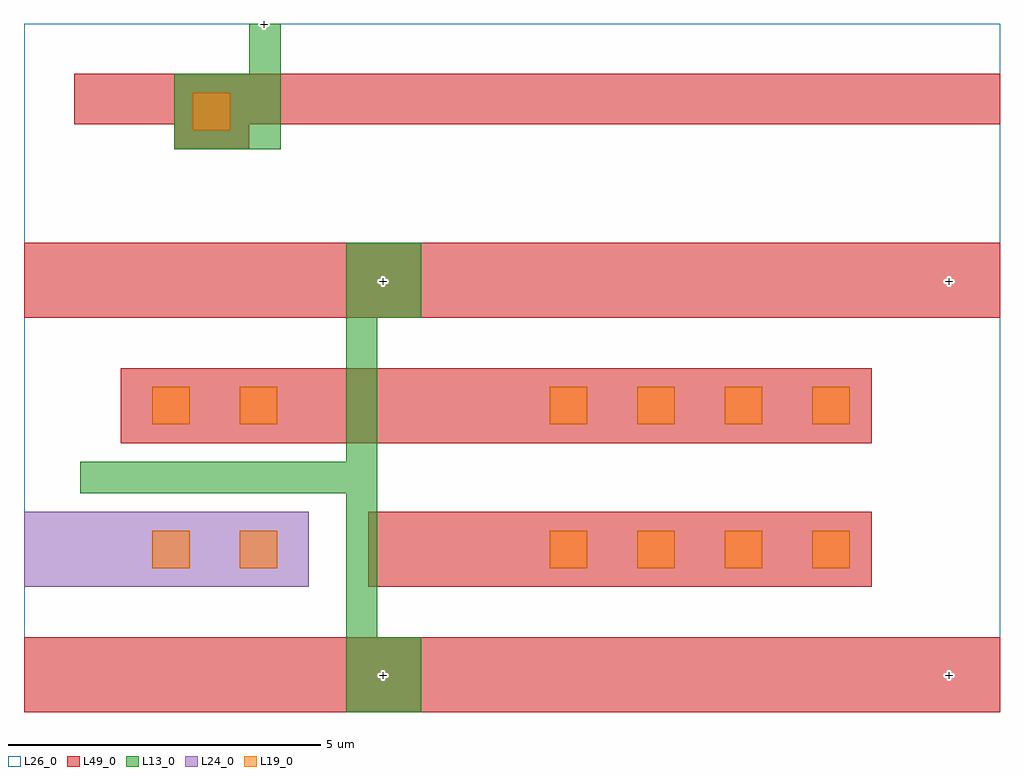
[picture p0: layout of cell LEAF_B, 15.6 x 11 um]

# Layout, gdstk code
import gdstk
lib = gdstk.Library(unit=1e-6, precision=1e-09)
def R(c, l, rs):  # rectangles x0, y0, x1, y1
    for r in rs: c.add(gdstk.rectangle(r[:2], r[2:], *l))
def A(c, l, x, y, w, h, nx, ny, dx, dy):  # array of equal rectangles
    R(c, l, [(x+i*dx, y+j*dy, x+i*dx+w, y+j*dy+h) for i in range(nx) for j in range(ny)])
def P(c, l, *ps):  # polygons
    for p in ps: c.add(gdstk.Polygon(p, *l))
L13_0 = (13, 0)
L19_0 = (19, 0)
L24_0 = (24, 0)
L26_0 = (26, 0)
L49_0 = (49, 0)

leaf_b = lib.new_cell('LEAF_B')
P(leaf_b, L13_0, [(2.4,10.2),(3.6,10.2),(3.6,11),(4.1,11),(4.1,9),(2.4,9)],
  [(0.9,4),(5.15,4),(5.15,7.5),(6.35,7.5),(6.35,6.3),(5.65,6.3),(5.65,1.2),(6.35,1.2),(6.35,0),(5.15,0),(5.15,3.5),(0.9,3.5)])
A(leaf_b, L19_0, 8.4, 2.3, 0.6, 0.6, 4, 2, 1.4, 2.3)
R(leaf_b, L19_0, [(2.05,2.3,2.65,2.9), (3.45,2.3,4.05,2.9), (2.05,4.6,2.65,5.2), (3.45,4.6,4.05,5.2), (2.7,9.3,3.3,9.9)])
R(leaf_b, L24_0, [(0,2,4.55,3.2)])
R(leaf_b, L26_0, [(0,0,15.6,11)])
R(leaf_b, L49_0, [(0,0,15.6,1.2), (5.5,2,13.55,3.2), (1.55,4.3,13.55,5.5), (0,6.3,15.6,7.5)])
P(leaf_b, L49_0, [(0.8,10.2),(15.6,10.2),(15.6,9.4),(3.6,9.4),(3.6,9),(2.4,9),(2.4,9.4),(0.8,9.4)])
leaf_b.add(gdstk.Label('+', (3.85,11), layer=13, texttype=0))
leaf_b.add(gdstk.Label('+', (5.75,0.6), layer=19, texttype=0))
leaf_b.add(gdstk.Label('+', (14.8,0.6), layer=19, texttype=0))
leaf_b.add(gdstk.Label('+', (14.8,6.9), layer=19, texttype=0))
leaf_b.add(gdstk.Label('+', (5.75,6.9), layer=19, texttype=0))

lib.write_gds('LEAF_B.gds')
